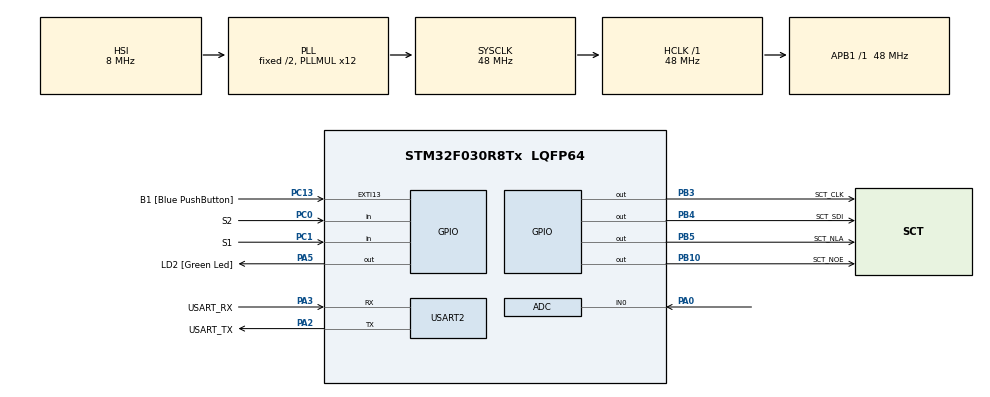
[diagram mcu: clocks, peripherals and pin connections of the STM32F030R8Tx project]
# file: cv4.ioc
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ADC.ContinuousConvMode=ENABLE
ADC.Overrun=ADC_OVR_DATA_OVERWRITTEN
ADC.SamplingTime=ADC_SAMPLETIME_239CYCLES_5
Mcu.Family=STM32F0
Mcu.Name=STM32F030R8Tx
Mcu.Package=LQFP64
NVIC.ADC1_IRQn=true\:0\:0\:false\:false\:true\:true\:true\:true
PA0.Mode=IN0
PA0.Signal=ADC_IN0
PA13.GPIO_Label=TMS
PA13.Mode=Serial_Wire
PA13.Signal=SYS_SWDIO
PA14.GPIO_Label=TCK
PA14.Mode=Serial_Wire
PA14.Signal=SYS_SWCLK
PA2.GPIO_Label=USART_TX
PA2.GPIO_Mode=GPIO_MODE_AF_PP
PA2.GPIO_PuPd=GPIO_NOPULL
PA2.GPIO_Speed=GPIO_SPEED_FREQ_LOW
PA2.Mode=Asynchronous
PA2.Signal=USART2_TX
PA3.GPIO_Label=USART_RX
PA3.GPIO_Mode=GPIO_MODE_AF_PP
PA3.GPIO_PuPd=GPIO_NOPULL
PA3.GPIO_Speed=GPIO_SPEED_FREQ_LOW
PA3.Mode=Asynchronous
PA3.Signal=USART2_RX
PA5.GPIO_Label=LD2 [Green Led]
PA5.GPIO_Mode=GPIO_MODE_OUTPUT_PP
PA5.GPIO_PuPd=GPIO_NOPULL
PA5.GPIO_Speed=GPIO_SPEED_FREQ_LOW
PA5.Signal=GPIO_Output
PB10.GPIO_Label=SCT_NOE
PB10.Signal=GPIO_Output
PB3.GPIO_Label=SCT_CLK
PB3.Signal=GPIO_Output
PB4.GPIO_Label=SCT_SDI
PB4.Signal=GPIO_Output
PB5.GPIO_Label=SCT_NLA
PB5.Signal=GPIO_Output
PC0.GPIO_Label=S2
PC0.GPIO_PuPd=GPIO_PULLUP
PC0.Signal=GPIO_Input
PC1.GPIO_Label=S1
PC1.GPIO_PuPd=GPIO_PULLUP
PC1.Signal=GPIO_Input
PC13.GPIO_Label=B1 [Blue PushButton]
PC13.GPIO_ModeDefaultEXTI=GPIO_MODE_IT_FALLING
PC13.Signal=GPXTI13
PC14-OSC32_IN.Mode=LSE-External-Oscillator
PC14-OSC32_IN.Signal=RCC_OSC32_IN
PC15-OSC32_OUT.Mode=LSE-External-Oscillator
PC15-OSC32_OUT.Signal=RCC_OSC32_OUT
PF0-OSC_IN.Mode=HSE-External-Clock-Source
PF0-OSC_IN.Signal=RCC_OSC_IN
PF1-OSC_OUT.Signal=RCC_OSC_OUT
ProjectManager.HeapSize=0x200
ProjectManager.StackSize=0x400
ProjectManager.TargetToolchain=STM32CubeIDE
RCC.AHBFreq_Value=48000000
RCC.APB1Freq_Value=48000000
RCC.APB1TimFreq_Value=48000000
RCC.HCLKFreq_Value=48000000
RCC.PLLMUL=RCC_PLL_MUL12
RCC.SYSCLKFreq_VALUE=48000000
RCC.SYSCLKSource=RCC_SYSCLKSOURCE_PLLCLK
USART2.VirtualMode-Asynchronous=VM_ASYNC
VP_ADC_TempSens_Input.Mode=IN-TempSens
VP_ADC_Vref_Input.Mode=IN-Vrefint
board=NUCLEO-F030R8

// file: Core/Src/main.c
/* USER CODE BEGIN Header */
/**
  ******************************************************************************
  * @file           : main.c
  * @brief          : Main program body
  ******************************************************************************
  * @attention
  *
  * Copyright (c) 2022 STMicroelectronics.
  * All rights reserved.
  *
  * This software is licensed under terms that can be found in the LICENSE file
  * in the root directory of this software component.
  * If no LICENSE file comes with this software, it is provided AS-IS.
  *
  ******************************************************************************
  */
/* USER CODE END Header */
#include "main.h"

/* USER CODE BEGIN Includes */
#include <stdint.h>
#include "sct.h"
/* USER CODE END Includes */

/* USER CODE BEGIN PD */
/* Temperature sensor calibration value address */
#define TEMP110_CAL_ADDR ((uint16_t*) ((uint32_t) 0x1FFFF7C2))
#define TEMP30_CAL_ADDR ((uint16_t*) ((uint32_t) 0x1FFFF7B8))
/* Internal voltage reference calibration value address */
#define VREFINT_CAL_ADDR ((uint16_t*) ((uint32_t) 0x1FFFF7BA))
/* USER CODE END PD */

ADC_HandleTypeDef hadc;

UART_HandleTypeDef huart2;

/* USER CODE BEGIN PV */
static volatile uint32_t raw_pot;
static volatile uint32_t raw_volt;
static volatile uint32_t raw_temp;
static volatile uint32_t raw_time;
static uint8_t ADC_Q = 12;
static enum { SHOW_POT, SHOW_VOLT, SHOW_TEMP, SHOW_TIME } state = SHOW_TEMP;
/* USER CODE END PV */

void SystemClock_Config(void);
static void MX_GPIO_Init(void);
static void MX_USART2_UART_Init(void);
static void MX_ADC_Init(void);

/* USER CODE BEGIN 0 */

void HAL_ADC_ConvCpltCallback(ADC_HandleTypeDef* hadc)
{
	 static uint8_t channel;

	 if (channel == 0) {
		 static uint32_t avg_pot;
		 raw_pot = avg_pot >> ADC_Q;
		 avg_pot -= raw_pot;
		 avg_pot += HAL_ADC_GetValue(hadc);
	 } else if (channel == 1) {
		 raw_temp = HAL_ADC_GetValue(hadc);
	 } else if (channel == 2) {
		 raw_volt = HAL_ADC_GetValue(hadc);
	 }

	 if (__HAL_ADC_GET_FLAG(hadc, ADC_FLAG_EOS)) channel = 0;
	     else channel++;
}

void tlacitka(void)
{
	static uint16_t debounce = 0xFFFF;
	static uint32_t delay;
	static uint32_t off_time;
	uint32_t Tick = HAL_GetTick();

	if (Tick > delay + 5) {
		debounce <<= 1;
		if (HAL_GPIO_ReadPin(S2_GPIO_Port, S2_Pin)) debounce |= 0x0001;
		delay = Tick;
	}

	if (debounce == 0x8000) {
		off_time = Tick + 1000;
		state = SHOW_TIME;
	}

	if (Tick > off_time) {
		state = SHOW_TEMP;
	}
}
/* USER CODE END 0 */

int main(void)
{

  /* MCU Configuration--------------------------------------------------------*/

  /* Reset of all peripherals, Initializes the Flash interface and the Systick. */
  HAL_Init();

  /* Configure the system clock */
  SystemClock_Config();

  /* Initialize all configured peripherals */
  MX_GPIO_Init();
  MX_USART2_UART_Init();
  MX_ADC_Init();
  /* USER CODE BEGIN 2 */
  sct_init();
  HAL_ADCEx_Calibration_Start(&hadc);
  HAL_ADC_Start_IT(&hadc);
  /* USER CODE END 2 */

  /* Infinite loop */
  while (1)
  {

    /* USER CODE BEGIN 3 */
	if (state == SHOW_POT) {
		sct_value(raw_pot * 500 / 4096, raw_pot * 9 / 4096);
	} else if (state == SHOW_VOLT) {
		uint32_t voltage = 330 * (*VREFINT_CAL_ADDR) / raw_volt;
		sct_value(voltage, voltage * 9 / 1000);
	} else if (state == SHOW_TEMP) {
		int32_t temperature = (raw_temp - (int32_t)(*TEMP30_CAL_ADDR));
		temperature = temperature * (int32_t)(110 - 30);
		temperature = temperature / (int32_t)(*TEMP110_CAL_ADDR - *TEMP30_CAL_ADDR);
		temperature = temperature + 30;
		sct_value(temperature, temperature * 9 / 100);
	} else if (state == SHOW_TIME) {
		sct_value((uint16_t) HAL_GetTick(), 0);
	}
	tlacitka();
	HAL_Delay(50);
  }
  /* USER CODE END 3 */
}

void SystemClock_Config(void)
{
  RCC_OscInitTypeDef RCC_OscInitStruct = {0};
  RCC_ClkInitTypeDef RCC_ClkInitStruct = {0};

  /** Initializes the RCC Oscillators according to the specified parameters
  * in the RCC_OscInitTypeDef structure.
  */
  RCC_OscInitStruct.OscillatorType = RCC_OSCILLATORTYPE_HSI|RCC_OSCILLATORTYPE_HSI14;
  RCC_OscInitStruct.HSIState = RCC_HSI_ON;
  RCC_OscInitStruct.HSI14State = RCC_HSI14_ON;
  RCC_OscInitStruct.HSICalibrationValue = RCC_HSICALIBRATION_DEFAULT;
  RCC_OscInitStruct.HSI14CalibrationValue = 16;
  RCC_OscInitStruct.PLL.PLLState = RCC_PLL_ON;
  RCC_OscInitStruct.PLL.PLLSource = RCC_PLLSOURCE_HSI;
  RCC_OscInitStruct.PLL.PLLMUL = RCC_PLL_MUL12;
  RCC_OscInitStruct.PLL.PREDIV = RCC_PREDIV_DIV1;
  if (HAL_RCC_OscConfig(&RCC_OscInitStruct) != HAL_OK)
  {
    Error_Handler();
  }

  /** Initializes the CPU, AHB and APB buses clocks
  */
  RCC_ClkInitStruct.ClockType = RCC_CLOCKTYPE_HCLK|RCC_CLOCKTYPE_SYSCLK
                              |RCC_CLOCKTYPE_PCLK1;
  RCC_ClkInitStruct.SYSCLKSource = RCC_SYSCLKSOURCE_PLLCLK;
  RCC_ClkInitStruct.AHBCLKDivider = RCC_SYSCLK_DIV1;
  RCC_ClkInitStruct.APB1CLKDivider = RCC_HCLK_DIV1;

  if (HAL_RCC_ClockConfig(&RCC_ClkInitStruct, FLASH_LATENCY_1) != HAL_OK)
  {
    Error_Handler();
  }
}

static void MX_ADC_Init(void)
{

  ADC_ChannelConfTypeDef sConfig = {0};

  /** Configure the global features of the ADC (Clock, Resolution, Data Alignment and number of conversion)
  */
  hadc.Instance = ADC1;
  hadc.Init.ClockPrescaler = ADC_CLOCK_ASYNC_DIV1;
  hadc.Init.Resolution = ADC_RESOLUTION_12B;
  hadc.Init.DataAlign = ADC_DATAALIGN_RIGHT;
  hadc.Init.ScanConvMode = ADC_SCAN_DIRECTION_FORWARD;
  hadc.Init.EOCSelection = ADC_EOC_SINGLE_CONV;
  hadc.Init.LowPowerAutoWait = DISABLE;
  hadc.Init.LowPowerAutoPowerOff = DISABLE;
  hadc.Init.ContinuousConvMode = ENABLE;
  hadc.Init.DiscontinuousConvMode = DISABLE;
  hadc.Init.ExternalTrigConv = ADC_SOFTWARE_START;
  hadc.Init.ExternalTrigConvEdge = ADC_EXTERNALTRIGCONVEDGE_NONE;
  hadc.Init.DMAContinuousRequests = DISABLE;
  hadc.Init.Overrun = ADC_OVR_DATA_OVERWRITTEN;
  if (HAL_ADC_Init(&hadc) != HAL_OK)
  {
    Error_Handler();
  }

  /** Configure for the selected ADC regular channel to be converted.
  */
  sConfig.Channel = ADC_CHANNEL_0;
  sConfig.Rank = ADC_RANK_CHANNEL_NUMBER;
  sConfig.SamplingTime = ADC_SAMPLETIME_239CYCLES_5;
  if (HAL_ADC_ConfigChannel(&hadc, &sConfig) != HAL_OK)
  {
    Error_Handler();
  }

  /** Configure for the selected ADC regular channel to be converted.
  */
  sConfig.Channel = ADC_CHANNEL_TEMPSENSOR;
  if (HAL_ADC_ConfigChannel(&hadc, &sConfig) != HAL_OK)
  {
    Error_Handler();
  }

  /** Configure for the selected ADC regular channel to be converted.
  */
  sConfig.Channel = ADC_CHANNEL_VREFINT;
  if (HAL_ADC_ConfigChannel(&hadc, &sConfig) != HAL_OK)
  {
    Error_Handler();
  }

}

static void MX_USART2_UART_Init(void)
{

  huart2.Instance = USART2;
  huart2.Init.BaudRate = 38400;
  huart2.Init.WordLength = UART_WORDLENGTH_8B;
  huart2.Init.StopBits = UART_STOPBITS_1;
  huart2.Init.Parity = UART_PARITY_NONE;
  huart2.Init.Mode = UART_MODE_TX_RX;
  huart2.Init.HwFlowCtl = UART_HWCONTROL_NONE;
  huart2.Init.OverSampling = UART_OVERSAMPLING_16;
  huart2.Init.OneBitSampling = UART_ONE_BIT_SAMPLE_DISABLE;
  huart2.AdvancedInit.AdvFeatureInit = UART_ADVFEATURE_NO_INIT;
  if (HAL_UART_Init(&huart2) != HAL_OK)
  {
    Error_Handler();
  }

}

static void MX_GPIO_Init(void)
{
  GPIO_InitTypeDef GPIO_InitStruct = {0};

  /* GPIO Ports Clock Enable */
  __HAL_RCC_GPIOC_CLK_ENABLE();
  __HAL_RCC_GPIOF_CLK_ENABLE();
  __HAL_RCC_GPIOA_CLK_ENABLE();
  __HAL_RCC_GPIOB_CLK_ENABLE();

  /*Configure GPIO pin Output Level */
  HAL_GPIO_WritePin(GPIOA, GPIO_PIN_5, GPIO_PIN_RESET);

  /*Configure GPIO pin Output Level */
  HAL_GPIO_WritePin(GPIOB, GPIO_PIN_10|GPIO_PIN_3|GPIO_PIN_4|GPIO_PIN_5, GPIO_PIN_RESET);

  /*Configure GPIO pin : PC13 */
  GPIO_InitStruct.Pin = GPIO_PIN_13;
  GPIO_InitStruct.Mode = GPIO_MODE_IT_FALLING;
  GPIO_InitStruct.Pull = GPIO_NOPULL;
  HAL_GPIO_Init(GPIOC, &GPIO_InitStruct);

  /*Configure GPIO pins : PC0 PC1 */
  GPIO_InitStruct.Pin = GPIO_PIN_0|GPIO_PIN_1;
  GPIO_InitStruct.Mode = GPIO_MODE_INPUT;
  GPIO_InitStruct.Pull = GPIO_PULLUP;
  HAL_GPIO_Init(GPIOC, &GPIO_InitStruct);

  /*Configure GPIO pin : PA5 */
  GPIO_InitStruct.Pin = GPIO_PIN_5;
  GPIO_InitStruct.Mode = GPIO_MODE_OUTPUT_PP;
  GPIO_InitStruct.Pull = GPIO_NOPULL;
  GPIO_InitStruct.Speed = GPIO_SPEED_FREQ_LOW;
  HAL_GPIO_Init(GPIOA, &GPIO_InitStruct);

  /*Configure GPIO pins : PB10 PB3 PB4 PB5 */
  GPIO_InitStruct.Pin = GPIO_PIN_10|GPIO_PIN_3|GPIO_PIN_4|GPIO_PIN_5;
  GPIO_InitStruct.Mode = GPIO_MODE_OUTPUT_PP;
  GPIO_InitStruct.Pull = GPIO_NOPULL;
  GPIO_InitStruct.Speed = GPIO_SPEED_FREQ_LOW;
  HAL_GPIO_Init(GPIOB, &GPIO_InitStruct);

}

void Error_Handler(void)
{
  __disable_irq();
  while (1)
  {
  }
}
